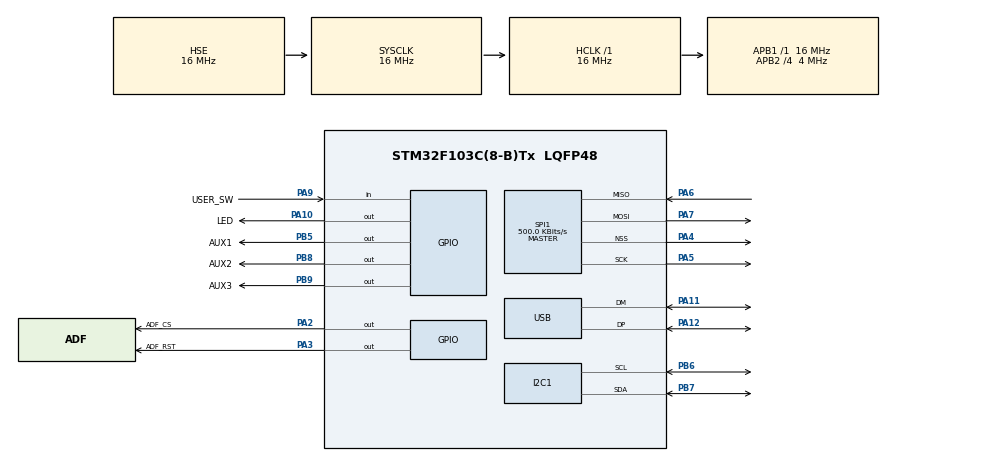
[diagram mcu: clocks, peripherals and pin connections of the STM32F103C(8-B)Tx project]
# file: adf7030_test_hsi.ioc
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ADC1.Channel-0\#ChannelRegularConversion=ADC_CHANNEL_TEMPSENSOR
ADC1.NbrOfConversionFlag=1
ADC1.Rank-0\#ChannelRegularConversion=1
ADC1.SamplingTime-0\#ChannelRegularConversion=ADC_SAMPLETIME_1CYCLE_5
ADC1.master=1
Mcu.Family=STM32F1
Mcu.Name=STM32F103C(8-B)Tx
Mcu.Package=LQFP48
NVIC.PriorityGroup=NVIC_PRIORITYGROUP_4
NVIC.USB_LP_CAN1_RX0_IRQn=true\:0\:0\:false\:false\:true\:true\:true
PA10.GPIO_Label=LED
PA10.Signal=GPIO_Output
PA11.Mode=Device
PA11.Signal=USB_DM
PA12.Mode=Device
PA12.Signal=USB_DP
PA13.Signal=SYS_JTMS-SWDIO
PA14.Signal=SYS_JTCK-SWCLK
PA2.GPIO_Label=ADF_CS
PA2.Signal=GPIO_Output
PA3.GPIO_Label=ADF_RST
PA3.Signal=GPIO_Output
PA4.Mode=NSS_Signal_Hard_Output
PA4.Signal=SPI1_NSS
PA5.Mode=Full_Duplex_Master
PA5.Signal=SPI1_SCK
PA6.Mode=Full_Duplex_Master
PA6.Signal=SPI1_MISO
PA7.Mode=Full_Duplex_Master
PA7.Signal=SPI1_MOSI
PA9.GPIO_Label=USER_SW
PA9.GPIO_PuPd=GPIO_PULLUP
PA9.Signal=GPIO_Input
PB5.GPIO_Label=AUX1
PB5.Signal=GPIO_Output
PB6.GPIO_Speed=GPIO_SPEED_FREQ_HIGH
PB6.Mode=I2C
PB6.Signal=I2C1_SCL
PB7.Mode=I2C
PB7.Signal=I2C1_SDA
PB8.GPIO_Label=AUX2
PB8.Signal=GPIO_Output
PB9.GPIO_Label=AUX3
PB9.Signal=GPIO_Output
PD0-OSC_IN.Mode=HSE-External-Oscillator
PD0-OSC_IN.Signal=RCC_OSC_IN
PD1-OSC_OUT.Mode=HSE-External-Oscillator
PD1-OSC_OUT.Signal=RCC_OSC_OUT
ProjectManager.HeapSize=0x200
ProjectManager.StackSize=0x400
ProjectManager.TargetToolchain=STM32CubeIDE
RCC.ADCPresc=RCC_ADCPCLK2_DIV6
RCC.AHBFreq_Value=16000000
RCC.APB1Freq_Value=16000000
RCC.APB1TimFreq_Value=16000000
RCC.APB2CLKDivider=RCC_HCLK_DIV4
RCC.APB2Freq_Value=4000000
RCC.APB2TimFreq_Value=8000000
RCC.HCLKFreq_Value=16000000
RCC.HSE_VALUE=16000000
RCC.PLLMUL=RCC_PLL_MUL3
RCC.PLLSourceVirtual=RCC_PLLSOURCE_HSE
RCC.SYSCLKFreq_VALUE=16000000
RCC.SYSCLKSource=RCC_SYSCLKSOURCE_HSE
RCC.USBFreq_Value=48000000
SPI1.BaudRatePrescaler=SPI_BAUDRATEPRESCALER_8
SPI1.CalculateBaudRate=500.0 KBits/s
SPI1.Direction=SPI_DIRECTION_2LINES
SPI1.Mode=SPI_MODE_MASTER
SPI1.VirtualNSS=VM_NSSHARD
SPI1.VirtualType=VM_MASTER
USB_DEVICE.CLASS_NAME_FS=CDC
USB_DEVICE.USBD_DEBUG_LEVEL=2
USB_DEVICE.VirtualMode=Cdc
USB_DEVICE.VirtualModeFS=Cdc_FS
VP_ADC1_TempSens_Input.Mode=IN-TempSens
VP_ADC1_Vref_Input.Mode=IN-Vrefint
VP_CRC_VS_CRC.Mode=CRC_Activate
VP_IWDG_VS_IWDG.Mode=IWDG_Activate
VP_RTC_VS_RTC_Activate.Mode=RTC_Enabled
VP_RTC_VS_RTC_Calendar.Mode=RTC_Calendar
VP_SYS_VS_ND.Mode=No_Debug
VP_USB_DEVICE_VS_USB_DEVICE_CDC_FS.Mode=CDC_FS
board=adf7030_test_hsi

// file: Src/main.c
/* USER CODE BEGIN Header */
/**
  ******************************************************************************
  * @file           : main.c
  * @brief          : Main program body
  ******************************************************************************
  * @attention
  *
  * <h2><center>&copy; Copyright (c) 2019 STMicroelectronics.
  * All rights reserved.</center></h2>
  *
  * This software component is licensed by ST under Ultimate Liberty license
  * SLA0044, the "License"; You may not use this file except in compliance with
  * the License. You may obtain a copy of the License at:
  *                             www.st.com/SLA0044
  *
  ******************************************************************************
  */
/* USER CODE END Header */

#include "main.h"
#include "adc.h"
#include "crc.h"
#include "i2c.h"
#include "iwdg.h"
#include "rtc.h"
#include "spi.h"
#include "usb_device.h"
#include "gpio.h"

/* USER CODE BEGIN Includes */
#include "usbd_cdc_if.h" // Plik bedacy interfejsem uzytkownika do kontrolera USB
#include "id.h"
#include "test.c"
#include "ssd1306.h"
#include "Adafruit_GFX.h"
#incude "adf7030.h"
//#include "adf7030.h"
/* USER CODE END Includes */

/* USER CODE BEGIN PV */
/* Private variables ---------------------------------------------------------*/
const uint8_t logo_bitmap[] = { //Created in GIMP -> export to .xbm
		0x00, 0x00, 0x00, 0x00, 0x00, 0x00, 0x00, 0x00, 0x00, 0x00, 0x00, 0x00,
		   0x00, 0x00, 0x00, 0x00, 0x00, 0x00, 0x00, 0x00, 0x00, 0x00, 0x00, 0x00,
		   0x00, 0x00, 0x00, 0x00, 0x00, 0x00, 0x00, 0x00, 0x00, 0x00, 0x00, 0x00,
		   0x00, 0x00, 0x00, 0x00, 0x00, 0x00, 0x00, 0x00, 0x00, 0x00, 0x00, 0x00,
		   0x00, 0x00, 0x00, 0x00, 0x00, 0x00, 0x00, 0x00, 0x00, 0x00, 0x00, 0x00,
		   0x00, 0x00, 0x00, 0x00, 0x00, 0x00, 0x00, 0x00, 0x00, 0x00, 0x00, 0x00,
		   0x00, 0x00, 0x00, 0x00, 0x00, 0x00, 0x00, 0x00, 0x00, 0x00, 0x00, 0x00,
		   0x00, 0x00, 0x00, 0x00, 0x00, 0x00, 0x00, 0x00, 0x00, 0x00, 0x00, 0x00,
		   0x00, 0xf0, 0x03, 0xfc, 0x1f, 0x00, 0xfc, 0xf0, 0xff, 0x81, 0x1f, 0xe0,
		   0x7f, 0x80, 0x1f, 0x00, 0x00, 0xfc, 0x0f, 0xfc, 0x7f, 0x00, 0xfe, 0xf1,
		   0xff, 0xe0, 0x7f, 0xe0, 0x3f, 0xe0, 0x7f, 0x00, 0x00, 0xfe, 0x1f, 0xfc,
		   0xff, 0x00, 0xff, 0xf3, 0xff, 0xf0, 0xff, 0xe0, 0x3f, 0xf0, 0xff, 0x00,
		   0x00, 0xfe, 0x1f, 0xfc, 0xff, 0x81, 0xff, 0xf1, 0xff, 0xf0, 0xff, 0xe0,
		   0x1f, 0xf0, 0xff, 0x00, 0x00, 0xff, 0x3f, 0xfc, 0xff, 0xc3, 0xff, 0xf0,
		   0x7f, 0xf8, 0xff, 0xe1, 0x1f, 0xf8, 0xff, 0x01, 0x00, 0x3f, 0x3e, 0x7c,
		   0xf0, 0xc3, 0x27, 0x00, 0x7c, 0xf8, 0xf0, 0x81, 0x0f, 0xf8, 0xf0, 0x01,
		   0x00, 0x1f, 0x3e, 0x7c, 0xe0, 0xc7, 0x07, 0x00, 0x7e, 0xf8, 0xf0, 0x81,
		   0x0f, 0xf8, 0xf0, 0x01, 0x00, 0x1f, 0x3e, 0x7c, 0xc0, 0xc7, 0x07, 0x00,
		   0x3e, 0xf8, 0xf0, 0xc1, 0x1f, 0xf8, 0xf0, 0x01, 0x00, 0x1f, 0x3e, 0x7c,
		   0xc0, 0xc7, 0x07, 0x00, 0x3e, 0xf8, 0xf0, 0xc1, 0x3f, 0xf8, 0xf0, 0x01,
		   0x00, 0x1f, 0x3e, 0x7c, 0xc0, 0xc7, 0x1f, 0x00, 0x3f, 0xf8, 0xf0, 0x01,
		   0x3e, 0xf8, 0xf0, 0x01, 0x00, 0x7f, 0x3e, 0x7c, 0xc0, 0xc7, 0x1f, 0x00,
		   0x3f, 0xf8, 0xf0, 0x01, 0x7c, 0xf8, 0xf0, 0x01, 0x00, 0x7f, 0x3e, 0x7c,
		   0xc0, 0xc7, 0x1f, 0x00, 0x1f, 0xf8, 0xf0, 0x01, 0x7c, 0xf8, 0xf0, 0x01,
		   0x00, 0x7f, 0x3e, 0x7c, 0xe0, 0xc7, 0x1f, 0x80, 0x1f, 0xf8, 0xf0, 0x01,
		   0x7c, 0xf8, 0xf0, 0x01, 0x00, 0x7f, 0x3e, 0x7c, 0xf0, 0xc3, 0x1f, 0x80,
		   0x1f, 0xf8, 0xf0, 0x21, 0x7e, 0xf8, 0xf0, 0x01, 0x00, 0x7f, 0x3e, 0x7c,
		   0xff, 0xc3, 0x07, 0x80, 0x0f, 0xf8, 0xff, 0xe1, 0x7f, 0xf8, 0xff, 0x01,
		   0x00, 0x1f, 0x3e, 0x7c, 0xff, 0xc1, 0x07, 0x80, 0x0f, 0xf0, 0xff, 0xe0,
		   0x3f, 0xf0, 0xff, 0x00, 0x00, 0x1f, 0x3e, 0x7c, 0xff, 0xc0, 0x07, 0xc0,
		   0x0f, 0xf0, 0xff, 0xe0, 0x3f, 0xf0, 0xff, 0x00, 0x00, 0x1f, 0x3e, 0x7c,
		   0x7f, 0xc0, 0x07, 0xc0, 0x0f, 0xe0, 0x7f, 0xe0, 0x1f, 0xe0, 0x7f, 0x00,
		   0x00, 0x1f, 0x3e, 0x7c, 0x1f, 0xc0, 0x07, 0xe0, 0x07, 0x80, 0x1f, 0xe0,
		   0x07, 0x80, 0x1f, 0x00, 0x00, 0x00, 0x00, 0x00, 0x00, 0x00, 0x00, 0x00,
		   0x00, 0x00, 0x00, 0x00, 0x00, 0x00, 0x00, 0x00, 0x00, 0x00, 0x00, 0x00,
		   0x00, 0x00, 0x00, 0x00, 0x00, 0x00, 0x00, 0x00, 0x00, 0x00, 0x00, 0x00,
		   0x00, 0x00, 0x00, 0x00, 0x00, 0x00, 0x00, 0x00, 0x00, 0x00, 0x00, 0x00,
		   0x00, 0x00, 0x00, 0x00, 0x00, 0x00, 0x00, 0x00, 0x00, 0x00, 0x00, 0x00,
		   0x00, 0x00, 0x00, 0x00, 0x00, 0x00, 0x00, 0x00, 0x00, 0x00, 0x00, 0x00,
		   0x00, 0x00, 0x00, 0x00, 0x00, 0x00, 0x00, 0x00, 0x00, 0x00, 0x00, 0x00,
		   0x00, 0x00, 0x00, 0x00, 0x00, 0x00, 0x00, 0x00, 0x00, 0x00, 0x00, 0x00,
		   0x00, 0x00, 0x00, 0x00, 0x00, 0x00, 0x00, 0x00, 0x00, 0x00, 0x00, 0x00,
		   0x00, 0x00, 0x00, 0x00, 0x00, 0x00, 0x00, 0x00, 0x00, 0x00, 0x00, 0x00,
		   0x00, 0x00, 0x00, 0x00, 0x00, 0x00, 0x00, 0x00, 0x00, 0x00, 0x00, 0x00,
		   0x00, 0x00, 0x00, 0x00, 0x00, 0x00, 0x00, 0x00, 0x00, 0x00, 0x00, 0x00,
		   0x00, 0x00, 0x00, 0x00, 0x00, 0x00, 0x00, 0x00, 0x00, 0x00, 0x00, 0x00,
		   0x00, 0x00, 0x00, 0x00, 0x00, 0x00, 0x00, 0x00, 0x00, 0x00, 0x00, 0x00,
		   0x00, 0x00, 0x00, 0x00, 0x00, 0x00, 0x00, 0x00, 0x00, 0x00, 0x00, 0x00,
		   0x00, 0x00, 0x00, 0x00, 0x00, 0x00, 0x00, 0x00, 0x00, 0x00, 0x00, 0x00,
		   0x00, 0x00, 0x00, 0x00, 0x00, 0x00, 0x00, 0x00, 0x00, 0x00, 0x00, 0x00,
		   0x00, 0x00, 0x00, 0x00, 0x00, 0x00, 0x00, 0x00, 0x00, 0x00, 0x00, 0x00,
		   0xe0, 0xff, 0x87, 0x7f, 0x80, 0xef, 0xff, 0x07, 0x00, 0x00, 0x00, 0x00,
		   0x00, 0x00, 0x00, 0x00, 0xe0, 0xff, 0xe7, 0x7f, 0xe0, 0xef, 0xff, 0x07,
		   0x00, 0x00, 0x00, 0x00, 0x00, 0x00, 0x00, 0x00, 0xe0, 0xff, 0xe7, 0x7f,
		   0xf0, 0xef, 0xff, 0x07, 0x00, 0x00, 0x00, 0x00, 0x00, 0x00, 0x00, 0x00,
		   0xe0, 0xff, 0xf7, 0x7f, 0xf0, 0xef, 0xff, 0x07, 0x00, 0x00, 0x00, 0x00,
		   0x00, 0x00, 0x00, 0x00, 0xe0, 0xff, 0xf7, 0x7f, 0xf8, 0xef, 0xff, 0x07,
		   0x00, 0x00, 0x00, 0x00, 0x00, 0x00, 0x00, 0x00, 0x00, 0x3e, 0xf0, 0x01,
		   0xf8, 0x03, 0x3e, 0x00, 0x00, 0x00, 0x00, 0x00, 0x00, 0x00, 0x00, 0x00,
		   0x00, 0x3e, 0xf0, 0x01, 0xf8, 0x01, 0x3e, 0x00, 0x00, 0x00, 0x00, 0x00,
		   0x00, 0x00, 0x00, 0x00, 0x00, 0x3e, 0xf0, 0x01, 0xf8, 0x01, 0x3e, 0x00,
		   0x00, 0x00, 0x00, 0x00, 0x00, 0x00, 0x00, 0x00, 0x00, 0x3e, 0xf0, 0x7f,
		   0xf8, 0x03, 0x3e, 0x00, 0x00, 0x00, 0x00, 0x00, 0x00, 0x00, 0x00, 0x00,
		   0x00, 0x3e, 0xf0, 0x7f, 0xf0, 0x07, 0x3e, 0x00, 0x00, 0x00, 0x00, 0x00,
		   0x00, 0x00, 0x00, 0x00, 0x00, 0x3e, 0xf0, 0x7f, 0xe0, 0x07, 0x3e, 0x00,
		   0x00, 0x00, 0x00, 0x00, 0x00, 0x00, 0x00, 0x00, 0x00, 0x3e, 0xf0, 0x7f,
		   0xe0, 0x0f, 0x3e, 0x00, 0x00, 0x00, 0x00, 0x00, 0x00, 0x00, 0x00, 0x00,
		   0x00, 0x3e, 0xf0, 0x01, 0xc0, 0x0f, 0x3e, 0x00, 0x00, 0x00, 0x00, 0x00,
		   0x00, 0x00, 0x00, 0x00, 0x00, 0x3e, 0xf0, 0x01, 0xe4, 0x0f, 0x3e, 0x00,
		   0x00, 0x00, 0x00, 0x00, 0x00, 0x00, 0x00, 0x00, 0x00, 0x3e, 0xf0, 0x7f,
		   0xfc, 0x0f, 0x3e, 0x00, 0x00, 0x00, 0x00, 0x00, 0x00, 0x00, 0x00, 0x00,
		   0x00, 0x3e, 0xf0, 0x7f, 0xfc, 0x07, 0x3e, 0x00, 0x00, 0x00, 0x00, 0x00,
		   0x00, 0x00, 0x00, 0x00, 0x00, 0x3e, 0xe0, 0x7f, 0xfc, 0x07, 0x3e, 0x00,
		   0x00, 0x00, 0x00, 0x00, 0x00, 0x00, 0x00, 0x00, 0x00, 0x3e, 0xe0, 0x7f,
		   0xfc, 0x01, 0x3e, 0x00, 0x00, 0x00, 0x00, 0x00, 0x00, 0x00, 0x00, 0x00,
		   0x00, 0x3e, 0x80, 0x7f, 0xfc, 0x00, 0x3e, 0x00, 0x00, 0xc7, 0x41, 0x3e,
		   0x00, 0x00, 0x00, 0x00, 0x00, 0x00, 0x00, 0x00, 0x00, 0x00, 0x00, 0x00,
		   0x80, 0x28, 0x62, 0x10, 0x00, 0x00, 0x00, 0x00, 0x00, 0x00, 0x00, 0x00,
		   0x00, 0x00, 0x00, 0x00, 0x00, 0x28, 0x52, 0x10, 0x00, 0x00, 0x00, 0x00,
		   0x00, 0x00, 0x00, 0x00, 0x00, 0x00, 0x00, 0x00, 0x00, 0x24, 0x42, 0x08,
		   0x00, 0x00, 0x00, 0x00, 0x00, 0x00, 0x00, 0x00, 0x00, 0x00, 0x00, 0x00,
		   0x00, 0x22, 0x42, 0x08, 0x00, 0x00, 0x00, 0x00, 0x00, 0x00, 0x00, 0x00,
		   0x00, 0x00, 0x00, 0x00, 0x00, 0x21, 0x42, 0x04, 0x00, 0x00, 0x00, 0x00,
		   0x00, 0x00, 0x00, 0x00, 0x00, 0x00, 0x00, 0x00, 0x80, 0xcf, 0x41, 0x04,
		   0x00, 0x00, 0x00, 0x00, 0x00, 0x00, 0x00, 0x00, 0x00, 0x00, 0x00, 0x00,
		   0x00, 0x00, 0x00, 0x00 };
//Rejestry

/* USER CODE END PV */

void SystemClock_Config(void);
/* USER CODE BEGIN PFP */
/* Private function prototypes -----------------------------------------------*/

/* USER CODE END PFP */

int main(void)
{

  /* MCU Configuration--------------------------------------------------------*/

  /* Reset of all peripherals, Initializes the Flash interface and the Systick. */
  HAL_Init();

  /* Configure the system clock */
  SystemClock_Config();

  /* Initialize all configured peripherals */
  MX_GPIO_Init();
  MX_I2C1_Init();
  MX_RTC_Init();
  MX_SPI1_Init();
  MX_CRC_Init();
  MX_IWDG_Init();
  MX_USB_DEVICE_Init();
  MX_ADC1_Init();
  /* USER CODE BEGIN 2 */
	//HAL_IWDG_Init(&hiwdg);
	//HAL_IWDG_Start(&hiwdg);
	//HAL_IWDG_Refresh(&hiwdg);
  	HAL_GPIO_WritePin(LED_GPIO_Port, LED_Pin, GPIO_PIN_SET);
	HAL_ADC_Start(&hadc1);
	begin();
	drawXBitmap(0,0,(uint8_t *)logo_bitmap,128,64,WHITE);
	display();
	for(int i=0;i<10;++i)
	{
		HAL_Delay(100);
		if(HAL_IWDG_Refresh(&hiwdg) != HAL_OK)
			{
			      /* Refresh Error */
			      Error_Handler();
			}
	}

	clearDisplay();
	display();
	Adafruit_GFX(getWidth(), getHeight());
	fillCircle(110, 52, 10, WHITE);
	setTextSize(1);
	//setTextColor1(WHITE);
	setTextColor2(WHITE, BLACK);
	setCursor(0,0);
	drawText("Test 5 FLASH: ");

	char strBuf[20];
	sprintf(strBuf,"%dKB",TM_ID_GetFlashSize());
	drawText(strBuf);

	setCursor(0,8);
	drawText("ID: ");
	sprintf(strBuf,"0x%lX%lX%lX",TM_ID_GetUnique32(0),TM_ID_GetUnique32(1),TM_ID_GetUnique32(2));
	drawText(strBuf);

	//setCursor(0,24);
	sprintf(strBuf,"  %ldMHz",HAL_RCC_GetSysClockFreq()/1000000);
		drawText(strBuf);
	display();
	int a =0;
	float temperature =0.0;

  /* USER CODE END 2 */

  /* Infinite loop */
  while (1)
  {

    /* USER CODE BEGIN 3 */
	char strBuf[20];
	HAL_GPIO_TogglePin(LED_GPIO_Port, LED_Pin);

	setCursor(0,24);
	RTC_TimeTypeDef currTime;
	HAL_RTC_GetTime(&hrtc,&currTime, RTC_FORMAT_BIN);
	sprintf(strBuf,"%02u:%02u:%02u",currTime.Hours,currTime.Minutes, currTime.Seconds );
	drawText(strBuf);

	if( HAL_ADC_PollForConversion(&hadc1, 10) == HAL_OK )
	{
		const float V25 = 1.35; // [Volts] 1.34 - 1.52
		const float Avg_slope = 4.3/1000.0; //[Volts/degree] 4.0 - 4.6
		const float SupplyVoltage = 3.3; // [Volts]
		const float ADCResolution = 4095.0;
		float Vadc = (SupplyVoltage*HAL_ADC_GetValue(&hadc1))/ADCResolution;
		temperature = ((V25-Vadc)/Avg_slope)+25;

		HAL_ADC_Start(&hadc1);
	}

	if(HAL_GPIO_ReadPin(USER_SW_GPIO_Port, USER_SW_Pin) == GPIO_PIN_RESET)
	{
		a=0;
		setCursor(0,40);
		drawText("        ");
		fillCircle(110, 52, 8, BLACK);
	}
	else
	{
		fillCircle(110, 52, 10, WHITE);
	}

	sprintf(strBuf,"%d",++a);
	setCursor(0,40);
	drawText(strBuf);
	//temperature on OLED; 0xF7 - char for the degree symbol, source: https://community.arduboy.com/t/a-small-program-to-display-the-font/145/3
	int MessageLength = sprintf(strBuf,"%2.4f%cC",temperature, 0xF7);
	setCursor(0,50);
	drawText(strBuf);
	//temperature on USB virtual COM
	MessageLength = sprintf(strBuf,"%g\r\n",temperature);
	CDC_Transmit_FS((uint8_t *)strBuf, MessageLength);
	display();

	if(HAL_IWDG_Refresh(&hiwdg) != HAL_OK)
	{
	      /* Refresh Error */
	      Error_Handler();
	}

	HAL_Delay(10);
  }
  /* USER CODE END 3 */
}

void SystemClock_Config(void)
{
  RCC_OscInitTypeDef RCC_OscInitStruct = {0};
  RCC_ClkInitTypeDef RCC_ClkInitStruct = {0};
  RCC_PeriphCLKInitTypeDef PeriphClkInit = {0};

  /** Initializes the CPU, AHB and APB busses clocks
  */
  RCC_OscInitStruct.OscillatorType = RCC_OSCILLATORTYPE_LSI|RCC_OSCILLATORTYPE_HSE;
  RCC_OscInitStruct.HSEState = RCC_HSE_ON;
  RCC_OscInitStruct.HSEPredivValue = RCC_HSE_PREDIV_DIV1;
  RCC_OscInitStruct.HSIState = RCC_HSI_ON;
  RCC_OscInitStruct.LSIState = RCC_LSI_ON;
  RCC_OscInitStruct.PLL.PLLState = RCC_PLL_ON;
  RCC_OscInitStruct.PLL.PLLSource = RCC_PLLSOURCE_HSE;
  RCC_OscInitStruct.PLL.PLLMUL = RCC_PLL_MUL3;
  if (HAL_RCC_OscConfig(&RCC_OscInitStruct) != HAL_OK)
  {
    Error_Handler();
  }
  /** Initializes the CPU, AHB and APB busses clocks
  */
  RCC_ClkInitStruct.ClockType = RCC_CLOCKTYPE_HCLK|RCC_CLOCKTYPE_SYSCLK
                              |RCC_CLOCKTYPE_PCLK1|RCC_CLOCKTYPE_PCLK2;
  RCC_ClkInitStruct.SYSCLKSource = RCC_SYSCLKSOURCE_HSE;
  RCC_ClkInitStruct.AHBCLKDivider = RCC_SYSCLK_DIV1;
  RCC_ClkInitStruct.APB1CLKDivider = RCC_HCLK_DIV1;
  RCC_ClkInitStruct.APB2CLKDivider = RCC_HCLK_DIV4;

  if (HAL_RCC_ClockConfig(&RCC_ClkInitStruct, FLASH_LATENCY_0) != HAL_OK)
  {
    Error_Handler();
  }
  PeriphClkInit.PeriphClockSelection = RCC_PERIPHCLK_RTC|RCC_PERIPHCLK_ADC
                              |RCC_PERIPHCLK_USB;
  PeriphClkInit.RTCClockSelection = RCC_RTCCLKSOURCE_LSI;
  PeriphClkInit.AdcClockSelection = RCC_ADCPCLK2_DIV6;
  PeriphClkInit.UsbClockSelection = RCC_USBCLKSOURCE_PLL;
  if (HAL_RCCEx_PeriphCLKConfig(&PeriphClkInit) != HAL_OK)
  {
    Error_Handler();
  }
}

void Error_Handler(void)
{
}

/************************ (C) COPYRIGHT STMicroelectronics *****END OF FILE****/
